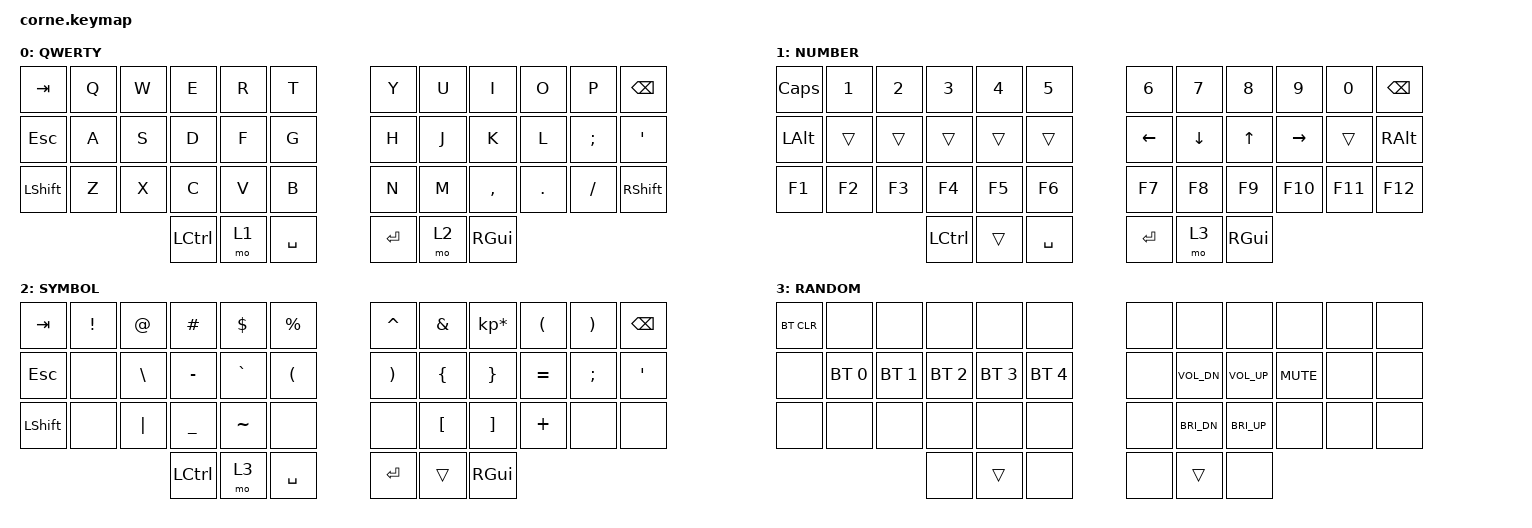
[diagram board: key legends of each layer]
/*
 * Copyright (c) 2020 The ZMK Contributors
 *
 * SPDX-License-Identifier: MIT
 */

#include <behaviors.dtsi>
#include <dt-bindings/zmk/keys.h>
#include <dt-bindings/zmk/bt.h>

/ {
        keymap {
                compatible = "zmk,keymap";
                // layer 0
                default_layer {
// -----------------------------------------------------------------------------------------
// |  TAB |  Q  |  W  |  E  |  R  |  T  |   |  Y  |  U   |  I  |  O  |  P  | BKSP |
// | ESC  |  A  |  S  |  D  |  F  |  G  |   |  H  |  J   |  K  |  L  |  ;  |  '   |
// | SHFT |  Z  |  X  |  C  |  V  |  B  |   |  N  |  M   |  ,  |  .  |  /  | SHFT |
//                    | CTRL | LWR | SPC |   | ENT | RSE  | GUI |
                        label = "QWERTY";
                        bindings = <
   &kp TAB   &kp Q &kp W &kp E &kp R &kp T   &kp Y &kp U  &kp I     &kp O   &kp P    &kp BSPC
   &kp ESC   &kp A &kp S &kp D &kp F &kp G   &kp H &kp J  &kp K     &kp L   &kp SEMI &kp SQT
   &kp LSHFT &kp Z &kp X &kp C &kp V &kp B   &kp N &kp M  &kp COMMA &kp DOT &kp FSLH &kp RSHIFT
                  &kp LCTRL &mo 1 &kp SPACE   &kp RET &mo 2 &kp RGUI
                        >;
                };

                // layer 1
                lower_layer {
// -----------------------------------------------------------------------------------------
// | caps |  1  |  2  |  3  |  4  |  5  |   |  6  |  7  |  8  |  9  |  0  | BKSP |
// | ALT  |     |     |     |     |     |   | LFT | DWN |  UP | RGT |     | ALT  |
// | F1   | F2  | F3  |  F4 | F5  | F6  |   | F7  | F8  |  F9 | F10 | F11 | F12  |
//                    | CTRL |     | SPC |   | ENT | BOTH | GUI |
                        label = "NUMBER";
                        bindings = <
   &kp CAPS    &kp N1       &kp N2       &kp N3        &kp N4      &kp N5      &kp N6   &kp N7   &kp N8 &kp N9     &kp N0  &kp BSPC
   &kp LALT    &trans       &trans       &trans        &trans      &trans      &kp LEFT &kp DOWN &kp UP &kp RIGHT  &trans  &kp RALT
   &kp F1      &kp F2       &kp F3       &kp F4        &kp F5      &kp F6      &kp F7   &kp F8   &kp F9 &kp F10    &kp F11 &kp F12
                                         &kp LCTRL     &trans      &kp SPACE   &kp RET  &mo 3    &kp RGUI
                        >;
                };
                // layer 2
                raise_layer {
// -----------------------------------------------------------------------------------------
// |  TAB |  !  |  @  |  #  |  $  |  %  |   |  ^  |  &  |  *  |  (  |  )  | BKSP |
// | ESC  |     |  \  |  -  |  `  |  (  |   |  )  |  {  |  }  |  =  |  ;  |  '   |
// | SHFT |     |  |  |  _  |  ~  |     |   |     |  [  |  ]  |  +  |     |      |
//                    | CTRL| BOTH| SPC |   | ENT |     | GUI |
                        label = "SYMBOL";
                        bindings = <
   &kp TAB   &kp EXCL &kp AT    &kp HASH  &kp DLLR  &kp PRCNT   &kp CARET &kp AMPS  &kp KP_MULTIPLY &kp LPAR  &kp RPAR  &kp BSPC
   &kp ESC   &none    &kp BSLH  &kp MINUS &kp GRAVE &kp LPAR    &kp RPAR  &kp LBRC  &kp RBRC        &kp EQUAL &kp SEMI  &kp SQT
   &kp LSHFT &none    &kp PIPE  &kp UNDER &kp TILDE &none       &none     &kp LBKT  &kp RBKT        &kp PLUS  &none     &none
                    	          &kp LCTRL &mo 3     &kp SPACE   &kp RET   &trans    &kp RGUI
                        >;
                };
                // layer 3
                both_layer {
// -----------------------------------------------------------------------------------------
// | BT_C |      |      |      |      |      |       |       |       |      |     |     |      |
// |      | BT_0 | BT_1 | BT_2 | BT_3 | BT_3 | BT_4  | VOLDN | VOLUP | MUTE |     |     |      |
// |      |      |      |      |      | GAME |       | BRIUP | BRIDN |      |     |     |      |
//                      |      |      |      |       |       |       |      |

                        label = "RANDOM";
                        bindings = <
   &bt BT_CLR &none         &none         &none         &none         &none           &none &none         &none         &none       &none &none 
   &none      &bt BT_SEL 0  &bt BT_SEL 1  &bt BT_SEL 2  &bt BT_SEL 3  &bt BT_SEL 4    &none &kp C_VOL_DN  &kp C_VOL_UP  &kp C_MUTE  &none &none 
   &none      &none         &none         &none         &none         &none           &none &kp C_BRI_DN  &kp C_BRI_UP  &none       &none &none 
                                          &none         &trans        &none           &none &trans        &none 
                        >;
                };
        };
};
